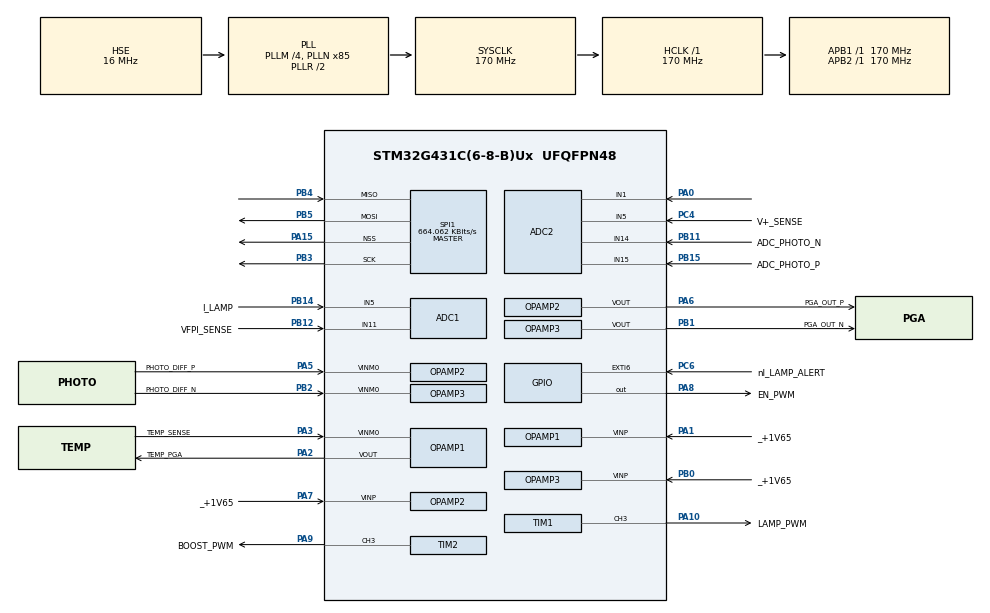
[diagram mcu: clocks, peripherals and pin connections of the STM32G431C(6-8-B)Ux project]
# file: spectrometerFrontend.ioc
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Dma.SPI1_TX.2.MemInc=DMA_MINC_ENABLE
SPI1.VirtualType=VM_MASTER
ADC2.SamplingTime-1\#ChannelRegularConversion=ADC_SAMPLETIME_640CYCLES_5
Dma.ADC2.1.SyncRequestNumber=1
PB14.GPIO_Label=I_LAMP
PC6.GPIO_Label=nI_LAMP_ALERT
PA6.GPIO_Label=PGA_OUT_P
TIM2.Dithering=Enable
RCC.SYSCLKSource=RCC_SYSCLKSOURCE_PLLCLK
NVIC.DMA1_Channel3_IRQn=true\:0\:0\:false\:false\:true\:false\:true
SPI1.Direction=SPI_DIRECTION_2LINES
RCC.APB2TimFreq_Value=170000000
Dma.ADC1.0.Direction=DMA_PERIPH_TO_MEMORY
SPI1.CalculateBaudRate=664.062 KBits/s
Dma.ADC1.0.MemDataAlignment=DMA_MDATAALIGN_HALFWORD
OPAMP2.PgaGain=OPAMP_PGA_GAIN_64_OR_MINUS_63
PB2.Signal=OPAMP3_VINM0
PB3.Mode=Full_Duplex_Master
RCC.ADC12Freq_Value=170000000
PB12.GPIO_Label=VFPI_SENSE
Dma.ADC2.1.RequestNumber=1
Dma.ADC2.1.Instance=DMA1_Channel2
PC4.GPIO_Label=V+_SENSE
PB14.Mode=IN5-Single-Ended
PB1.GPIO_Label=PGA_OUT_N
Dma.ADC1.0.PeriphInc=DMA_PINC_DISABLE
Dma.ADC2.1.Polarity=HAL_DMAMUX_REQ_GEN_RISING
SPI1.DataSize=SPI_DATASIZE_8BIT
PA0.Mode=IN1-Single-Ended
TIM2.Fractionnal_PeriodDither=15
PA8.Signal=GPIO_Output
SPI1.VirtualNSS=VM_NSSHARD
ADC1.SamplingTime-0\#ChannelRegularConversion=ADC_SAMPLETIME_640CYCLES_5
OPAMP1.UserTrimming=OPAMP_TRIMMING_USER
PA0.Signal=ADC2_IN1
Mcu.Package=UFQFPN48
TIM2.Prescaler=0
PB1.Signal=OPAMP3_VOUT
NVIC.TimeBase=TIM7_IRQn
OPAMP3.SelfCalibration=Enable
ADC1.OversamplingMode=ENABLE
ADC2.Channel-1\#ChannelRegularConversion=ADC_CHANNEL_1
NVIC.TimeBaseIP=TIM7
PA10.Signal=S_TIM1_CH3
RCC.APB1TimFreq_Value=170000000
ADC2.Rank-2\#ChannelRegularConversion=3
Dma.SPI1_TX.2.Priority=DMA_PRIORITY_LOW
ADC2.EnableAnalogWatchDog1=true
TIM1.PulseNoDither_3=10
Dma.ADC2.1.PeriphDataAlignment=DMA_PDATAALIGN_HALFWORD
PF1-OSC_OUT.Signal=RCC_OSC_OUT
Dma.ADC1.0.EventEnable=DISABLE
PC4.Mode=IN5-Single-Ended
RCC.HSI48_VALUE=48000000
Dma.SPI1_TX.2.PeriphInc=DMA_PINC_DISABLE
Dma.SPI1_TX.2.RequestNumber=1
PA5.Mode=PGA Connected-INVERTINGINPUT_IO0_BIAS
NVIC.TIM8_UP_IRQn=true\:0\:0\:false\:false\:true\:true\:true
Dma.ADC1.0.Instance=DMA1_Channel1
ADC1.Rank-0\#ChannelRegularConversion=1
Dma.ADC1.0.SyncRequestNumber=1
ADC1.OffsetNumber-0\#ChannelRegularConversion=ADC_OFFSET_NONE
ADC2.Rank-3\#ChannelRegularConversion=4
PA9.GPIO_Label=BOOST_PWM
PC6.Signal=GPXTI6
PB11.GPIO_Label=ADC_PHOTO_N
TIM8.TIM_MasterSlaveMode=TIM_MASTERSLAVEMODE_DISABLE
TIM2.OCPolarity_3=TIM_OCPOLARITY_LOW
ADC1.ExternalTrigConvEdge=ADC_EXTERNALTRIGCONVEDGE_FALLING
PA3.Mode=PGA Connected-INVERTINGINPUT_IO0_BIAS
Dma.ADC2.1.SyncSignalID=NONE
PA8.GPIO_Label=EN_PWM
PB11.Mode=IN14-Single-Ended
ADC2.ContinuousConvMode=ENABLE
Dma.ADC1.0.SignalID=NONE
Dma.ADC1.0.Priority=DMA_PRIORITY_LOW
PA9.Signal=S_TIM2_CH3
ADC2.WatchdogChannel=ADC_CHANNEL_5
TIM8.Channel-PWM\ Generation1\ No\ Output=TIM_CHANNEL_1
ADC2.OffsetNumber-1\#ChannelRegularConversion=ADC_OFFSET_NONE
PB14.Signal=ADC1_IN5
PA5.Signal=OPAMP2_VINM0
ADC2.OffsetNumber-0\#ChannelRegularConversion=ADC_OFFSET_NONE
ADC2.Channel-2\#ChannelRegularConversion=ADC_CHANNEL_14
TIM1.TIM_MasterOutputTrigger=TIM_TRGO_UPDATE
PA1.Mode=PGA Connected-INVERTINGINPUT_IO0_BIAS
SPI1.CRCCalculation=SPI_CRCCALCULATION_DISABLE
PB15.GPIO_Label=ADC_PHOTO_P
SPI1.Mode=SPI_MODE_MASTER
PA1.GPIO_Label=_+1V65
ADC1.DMAContinuousRequests=ENABLE
Dma.ADC2.1.MemInc=DMA_MINC_ENABLE
PA13.Mode=Serial_Wire
SPI1.NSSPMode=SPI_NSS_PULSE_ENABLE
ADC1.ExternalTrigConv=ADC_EXTERNALTRIG_T1_TRGO
ADC2.RightBitShift=ADC_RIGHTBITSHIFT_NONE
ADC1.SamplingTime-1\#ChannelRegularConversion=ADC_SAMPLETIME_6CYCLES_5
PB5.Signal=SPI1_MOSI
Dma.ADC2.1.Direction=DMA_PERIPH_TO_MEMORY
ADC1.master=1
PA5.GPIO_Label=PHOTO_DIFF_P
ADC2.NbrOfConversionFlag=1
TIM8.TIM_MasterOutputTrigger=TIM_TRGO_UPDATE
ADC1.Rank-1\#ChannelRegularConversion=2
OPAMP3.PgaGain=OPAMP_PGA_GAIN_64_OR_MINUS_63
Dma.ADC1.0.RequestNumber=1
ProjectManager.HeapSize=0x200
PB1.Mode=PGA Connected-INVERTINGINPUT_IO0_BIAS
ADC2.OversamplingMode=ENABLE
OPAMP1.SelfCalibration=Enable
TIM8.PeriodNoDither=50-1
NVIC.PriorityGroup=NVIC_PRIORITYGROUP_4
NVIC.DMA1_Channel1_IRQn=true\:0\:0\:false\:false\:true\:false\:true
PF0-OSC_IN.Signal=RCC_OSC_IN
TIM1.Channel-PWM\ Generation3\ CH3=TIM_CHANNEL_3
PB0.Signal=OPAMP3_VINP
TIM1.PeriodNoDither=3400-1
Mcu.Family=STM32G4
Dma.SPI1_TX.2.EventEnable=DISABLE
ADC1.RightBitShift=ADC_RIGHTBITSHIFT_NONE
PA6.Mode=PGA Connected-INVERTINGINPUT_IO0_BIAS
ADC2.OffsetNumber-2\#ChannelRegularConversion=ADC_OFFSET_NONE
RCC.CortexFreq_Value=170000000
ADC1.Overrun=ADC_OVR_DATA_PRESERVED
ADC1.ContinuousConvMode=ENABLE
ADC2.Channel-0\#ChannelRegularConversion=ADC_CHANNEL_5
Dma.ADC1.0.Polarity=HAL_DMAMUX_REQ_GEN_RISING
PB0.GPIO_Label=_+1V65
PB11.Signal=ADC2_IN14
PB15.Signal=ADC2_IN15
ProjectManager.StackSize=0x400
Dma.SPI1_TX.2.Polarity=HAL_DMAMUX_REQ_GEN_RISING
ADC2.Ratio=ADC_OVERSAMPLING_RATIO_16
TIM1.Prescaler=0
ADC2.DMAContinuousRequests=ENABLE
Dma.ADC2.1.SyncEnable=DISABLE
RCC.HCLKFreq_Value=170000000
Dma.SPI1_TX.2.SyncRequestNumber=1
Dma.SPI1_TX.2.Mode=DMA_NORMAL
RCC.AHBFreq_Value=170000000
ADC1.Channel-0\#ChannelRegularConversion=ADC_CHANNEL_5
RCC.HSE_VALUE=16000000
PA15.Mode=NSS_Signal_Hard_Output
Dma.ADC2.1.SyncPolarity=HAL_DMAMUX_SYNC_NO_EVENT
TIM2.PeriodNoDither=3400-1
PB4.Mode=Full_Duplex_Master
PA14.Mode=Serial_Wire
PB5.Mode=Full_Duplex_Master
PA10.GPIO_Label=LAMP_PWM
VP_SYS_VS_DBSignals.Mode=DisableDeadBatterySignals
Dma.ADC2.1.PeriphInc=DMA_PINC_DISABLE
OPAMP1.PgaGain=OPAMP_PGA_GAIN_8_OR_MINUS_7
Dma.SPI1_TX.2.MemDataAlignment=DMA_MDATAALIGN_BYTE
PA6.Signal=OPAMP2_VOUT
PB12.Mode=IN11-Single-Ended
PA2.GPIO_Label=TEMP_PGA
PA15.Signal=SPI1_NSS
ADC1.OffsetNumber-1\#ChannelRegularConversion=ADC_OFFSET_NONE
ADC2.SamplingTime-0\#ChannelRegularConversion=ADC_SAMPLETIME_640CYCLES_5
TIM8.Prescaler=170-1
ADC2.SamplingTime-2\#ChannelRegularConversion=ADC_SAMPLETIME_640CYCLES_5
ADC2.NbrOfConversion=4
Dma.Request2=SPI1_TX
Dma.Request1=ADC2
Dma.SPI1_TX.2.SyncEnable=DISABLE
ADC2.Rank-0\#ChannelRegularConversion=1
PF1-OSC_OUT.Mode=HSE-External-Oscillator
Dma.Request0=ADC1
SPI1.BaudRatePrescaler=SPI_BAUDRATEPRESCALER_256
NVIC.TIM7_IRQn=true\:0\:0\:false\:false\:true\:false\:true
ADC2.Channel-3\#ChannelRegularConversion=ADC_CHANNEL_15
PB4.Signal=SPI1_MISO
PA3.Signal=OPAMP1_VINM0
RCC.PLLSourceVirtual=RCC_PLLSOURCE_HSE
PA7.Mode=PGA Connected-INVERTINGINPUT_IO0_BIAS
Dma.SPI1_TX.2.Direction=DMA_MEMORY_TO_PERIPH
Dma.SPI1_TX.2.SignalID=NONE
VP_SYS_VS_tim7.Mode=TIM7
PC4.Signal=ADC2_IN5
RCC.EXTERNAL_CLOCK_VALUE=12288000
OPAMP1.PowerMode=OPAMP_POWERMODE_NORMAL
ADC2.AWD1FilteringConfig=ADC_AWD_FILTERING_8SAMPLES
PA13.Signal=SYS_JTMS-SWDIO
Dma.ADC1.0.PeriphDataAlignment=DMA_PDATAALIGN_HALFWORD
ADC2.OffsetNumber-3\#ChannelRegularConversion=ADC_OFFSET_NONE
Dma.SPI1_TX.2.Instance=DMA1_Channel3
PC6.GPIO_ModeDefaultEXTI=GPIO_MODE_IT_RISING_FALLING
NVIC.DMA1_Channel2_IRQn=true\:0\:0\:false\:false\:true\:false\:true
ProjectManager.TargetToolchain=STM32CubeIDE
Dma.ADC1.0.Mode=DMA_CIRCULAR
Dma.ADC1.0.SyncSignalID=NONE
ADC1.Channel-1\#ChannelRegularConversion=ADC_CHANNEL_11
ADC1.EnableAnalogWatchDog1=false
Dma.SPI1_TX.2.SyncPolarity=HAL_DMAMUX_SYNC_NO_EVENT
RCC.USBFreq_Value=170000000
ADC1.Ratio=ADC_OVERSAMPLING_RATIO_16
Dma.SPI1_TX.2.PeriphDataAlignment=DMA_PDATAALIGN_BYTE
Dma.ADC2.1.Mode=DMA_CIRCULAR
RCC.LSE_VALUE=32768
PA1.Signal=OPAMP1_VINP
PF0-OSC_IN.Mode=HSE-External-Oscillator
VP_TIM8_VS_no_output1.Mode=PWM Generation1 No Output
PB0.Mode=PGA Connected-INVERTINGINPUT_IO0_BIAS
board=custom
RCC.VCOOutputFreq_Value=340000000
PB15.Mode=IN15-Single-Ended
Dma.ADC1.0.SyncPolarity=HAL_DMAMUX_SYNC_NO_EVENT
RCC.APB2Freq_Value=170000000
TIM2.Integer_PeriodDither=850-1
SH.S_TIM2_CH3.0=TIM2_CH3,PWM Generation3 CH3
TIM2.Channel-PWM\ Generation3\ CH3=TIM_CHANNEL_3
ADC2.SamplingTime-3\#ChannelRegularConversion=ADC_SAMPLETIME_640CYCLES_5
ADC1.NbrOfConversion=2
Mcu.Name=STM32G431C(6-8-B)Ux
PA2.Signal=OPAMP1_VOUT
PB3.Signal=SPI1_SCK
RCC.SYSCLKFreq_VALUE=170000000
PA7.GPIO_Label=_+1V65
PB2.Mode=PGA Connected-INVERTINGINPUT_IO0_BIAS
Dma.ADC1.0.SyncEnable=DISABLE
NVIC.EXTI9_5_IRQn=true\:0\:0\:false\:false\:true\:true\:true
PA14.Signal=SYS_JTCK-SWCLK
Dma.ADC1.0.MemInc=DMA_MINC_ENABLE
PB2.GPIO_Label=PHOTO_DIFF_N
SH.S_TIM1_CH3.0=TIM1_CH3,PWM Generation3 CH3
Dma.ADC2.1.SignalID=NONE
RCC.HSI_VALUE=16000000
Dma.ADC2.1.EventEnable=DISABLE
ADC1.NbrOfConversionFlag=1
Dma.ADC2.1.MemDataAlignment=DMA_MDATAALIGN_HALFWORD
RCC.PLLM=RCC_PLLM_DIV4
RCC.PLLN=85
ADC2.Rank-1\#ChannelRegularConversion=2
PA2.Mode=PGA Connected-INVERTINGINPUT_IO0_BIAS
Dma.ADC2.1.Priority=DMA_PRIORITY_LOW
Dma.SPI1_TX.2.SyncSignalID=NONE
RCC.APB1Freq_Value=170000000
PB12.Signal=ADC1_IN11
TIM1.TIM_MasterSlaveMode=TIM_MASTERSLAVEMODE_DISABLE
PA3.GPIO_Label=TEMP_SENSE
PA7.Signal=OPAMP2_VINP

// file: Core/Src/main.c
/* USER CODE BEGIN Header */
/**
  ******************************************************************************
  * @file           : main.c
  * @brief          : Main program body
  ******************************************************************************
  * @attention
  *
  * <h2><center>&copy; Copyright (c) 2021 STMicroelectronics.
  * All rights reserved.</center></h2>
  *
  * This software component is licensed by ST under BSD 3-Clause license,
  * the "License"; You may not use this file except in compliance with the
  * License. You may obtain a copy of the License at:
  *                        opensource.org/licenses/BSD-3-Clause
  *
  ******************************************************************************
  */
/* USER CODE END Header */
#include "main.h"
#include "adc.h"
#include "dma.h"
#include "opamp.h"
#include "spi.h"
#include "tim.h"
#include "gpio.h"

/* USER CODE BEGIN Includes */
#include <stdio.h>
#include <string.h>
#include <stdlib.h>
#include <math.h>
#include "FPI-0H00084.h"
/* USER CODE END Includes */

/* USER CODE BEGIN PD */
#define ADC_BUF_LEN 4
#define SIN_STEPS 1024
#define EXECUTION_PERIOD_MS 1
#define LAMP_PWM_PERIOD 3350
#define LAMP_VOLTAGE_MV 10000
#define VPLUS_DIVIDER 6.0
#define VFPI_DIVIDER 12.5
#define FPI_PERIOD 849.0
#define FPI_DITHER 15.0
#define FPI_PULSE_DMAX 700.0

#define FPI_USER_LIMIT 38300
#define FPI_ERROR_THRESHOLD 250

#define TEMP_CONVERSION 2.8
#define KELVIN_TO_CELSIUS 273.15
#define CONSTANT_A 0.001093
#define CONSTANT_B 0.0002401
#define CONSTANT_C 0.00000006288

#define ADC_CONVERSION_CONSTANT 3300.0 / 65536.0

#define FPI_VOLTAGE_MEASUREMENT_CORRECTION 15650.0 / 15000.0

#define PLUS_VOLTAGE_MEASUREMENT_CORRECTION 12373.0 / 11683.0

#define FPI_VOLTAGE_GAIN 0.9598
#define FPI_VOLTAGE_OFFSET 640.0

#define VOLTAGE_ERROR_MEASURE 10.0 	//mv
#define VOLTAGE_ERROR_AVG_COUNT 10
#define MEASURE_RANGE_MIN 1550		//nm
#define MEASURE_RANGE_MAX 1850		//nm
#define MEASURE_STEP_SIZE 1		//nm
#define STEP_TIME 5				//ms

#define PHOTO_VALUE_SIZE (int)( (float)(MEASURE_RANGE_MAX - MEASURE_RANGE_MIN) / (float)MEASURE_STEP_SIZE )
/* USER CODE END PD */

/* USER CODE BEGIN PV */
uint16_t ADC1Buf[2];
uint16_t ADC2Buf[4];

uint32_t lastCycleTick = 0;

int nLAMP_CURRENT_ALERT = 0;
int lampCurrentRAW = 0;
float lampI = 0;
float sinLookup[SIN_STEPS];
float waveFormCounter = 0;
float lampPulse = 0;

int vfpiRAW = 0;
int vPlusRAW = 0;
float vPlus = 0;
float vFPI = 0;

float vFPISetpoint = 15000;
float vFPIError = 0;
const float vFPIProportionalGain = 0.005;
const float vFPIIntegralGain = 0.0002;
float vFPIIntegral = 0;
float vFPIPulse = 0;
int ditherPulse = 0;

int vTempRAW = 0;
float vTemp = 0;
float vThermistor = 0;
float thermistorR = 0;
float tempDegC = 0.0;

int vPhotoPRAW = 0;
int vPhotoNRAW = 0;
float vPhotoP = 0;
float vPhotoN = 0;
float vPhotoDiff = 0;

int wavelengthSetpoint = MEASURE_RANGE_MAX;
int lastTime = 0;
float averageError = 0.0;
uint8_t averageErrorWriteIndex = 0;
float errorAccumulation[VOLTAGE_ERROR_AVG_COUNT];

uint16_t photoValueIndex = 0;
float photoValue[PHOTO_VALUE_SIZE];

/* USER CODE END PV */

void SystemClock_Config(void);
/* USER CODE BEGIN PFP */
void loop(void);
void initializePeripherals(void);
void measureSlow(void);
void measureFast(void);
void boostConverter(void);

float tempCalc(void);
void lampPulsing(void);
void lampOn(void);

uint16_t wavelengthToVoltage(int wavelength, float temperature);

/* USER CODE END PFP */

int main(void)
{

  /* MCU Configuration--------------------------------------------------------*/

  /* Reset of all peripherals, Initializes the Flash interface and the Systick. */
  HAL_Init();

  /* Configure the system clock */
  SystemClock_Config();

  /* USER CODE BEGIN SysInit */
  lastCycleTick = HAL_GetTick();
  /* USER CODE END SysInit */

  /* Initialize all configured peripherals */
  MX_GPIO_Init();
  MX_DMA_Init();
  MX_TIM1_Init();
  MX_TIM8_Init();
  MX_ADC1_Init();
  MX_OPAMP1_Init();
  MX_ADC2_Init();
  MX_TIM2_Init();
  MX_OPAMP2_Init();
  MX_OPAMP3_Init();
  MX_SPI1_Init();
  /* USER CODE BEGIN 2 */
  initializePeripherals();

  /* USER CODE END 2 */

  /* Infinite loop */
  while (1)
  {

  }
}

void SystemClock_Config(void)
{
  RCC_OscInitTypeDef RCC_OscInitStruct = {0};
  RCC_ClkInitTypeDef RCC_ClkInitStruct = {0};
  RCC_PeriphCLKInitTypeDef PeriphClkInit = {0};

  /** Configure the main internal regulator output voltage
  */
  HAL_PWREx_ControlVoltageScaling(PWR_REGULATOR_VOLTAGE_SCALE1_BOOST);
  /** Initializes the RCC Oscillators according to the specified parameters
  * in the RCC_OscInitTypeDef structure.
  */
  RCC_OscInitStruct.OscillatorType = RCC_OSCILLATORTYPE_HSE;
  RCC_OscInitStruct.HSEState = RCC_HSE_ON;
  RCC_OscInitStruct.PLL.PLLState = RCC_PLL_ON;
  RCC_OscInitStruct.PLL.PLLSource = RCC_PLLSOURCE_HSE;
  RCC_OscInitStruct.PLL.PLLM = RCC_PLLM_DIV4;
  RCC_OscInitStruct.PLL.PLLN = 85;
  RCC_OscInitStruct.PLL.PLLP = RCC_PLLP_DIV2;
  RCC_OscInitStruct.PLL.PLLQ = RCC_PLLQ_DIV2;
  RCC_OscInitStruct.PLL.PLLR = RCC_PLLR_DIV2;
  if (HAL_RCC_OscConfig(&RCC_OscInitStruct) != HAL_OK)
  {
    Error_Handler();
  }
  /** Initializes the CPU, AHB and APB buses clocks
  */
  RCC_ClkInitStruct.ClockType = RCC_CLOCKTYPE_HCLK|RCC_CLOCKTYPE_SYSCLK
                              |RCC_CLOCKTYPE_PCLK1|RCC_CLOCKTYPE_PCLK2;
  RCC_ClkInitStruct.SYSCLKSource = RCC_SYSCLKSOURCE_PLLCLK;
  RCC_ClkInitStruct.AHBCLKDivider = RCC_SYSCLK_DIV1;
  RCC_ClkInitStruct.APB1CLKDivider = RCC_HCLK_DIV1;
  RCC_ClkInitStruct.APB2CLKDivider = RCC_HCLK_DIV1;

  if (HAL_RCC_ClockConfig(&RCC_ClkInitStruct, FLASH_LATENCY_4) != HAL_OK)
  {
    Error_Handler();
  }
  /** Initializes the peripherals clocks
  */
  PeriphClkInit.PeriphClockSelection = RCC_PERIPHCLK_ADC12;
  PeriphClkInit.Adc12ClockSelection = RCC_ADC12CLKSOURCE_SYSCLK;
  if (HAL_RCCEx_PeriphCLKConfig(&PeriphClkInit) != HAL_OK)
  {
    Error_Handler();
  }
}

/* USER CODE BEGIN 4 */

/* LOOP function called every 50us by TIM8 */
void loop(void){
	/* called every 50us */
	measureFast();
	boostConverter();

	uint32_t tick = HAL_GetTick();

	/* called every 1 ms */
	if(tick >= lastCycleTick + EXECUTION_PERIOD_MS)
	{
		lastCycleTick = tick;
		measureSlow();
		lampOn();
		//lampPulsing();

		/* called when the voltage has settled and at least 10ms have passed*/
		if (abs(averageError) < VOLTAGE_ERROR_MEASURE && tick >= lastTime + STEP_TIME)
		{
			uint8_t data[512];
			memset(data, 0, 512);
			sprintf((char *)data, "DATA:$%d$%.2f$%.2f$%.2f$%.5f\n", wavelengthSetpoint, tempDegC, vFPISetpoint, vFPI, vPhotoDiff);
			/* transmit the measurement value */
			HAL_SPI_Transmit_DMA(&hspi1, data, strlen((char *)data));

			lastTime = tick;
			if(wavelengthSetpoint > MEASURE_RANGE_MIN){
				wavelengthSetpoint = wavelengthSetpoint - MEASURE_STEP_SIZE;
			} else {
				wavelengthSetpoint = MEASURE_RANGE_MAX;
				// memset(data, 0, 512);
				// sprintf((char *)data, "NEW MEASUREMENT SERIES:\n");
				// /* transmit the measurement value */
				// HAL_SPI_Transmit_DMA(&hspi1, data, strlen((char *)data));
			}

			tempDegC = tempCalc();
			vFPISetpoint = wavelengthToVoltage(wavelengthSetpoint, tempDegC);

		}
	}
}

void initializePeripherals(void)
{

	/* Calculate SIN Lookup */
	for( int i = 0; i < SIN_STEPS; i ++)
	{
		sinLookup[i] = sin( ( (float) i / (float) SIN_STEPS ) * 2 * M_PI );
	}

	/* read initial values of exti pins */
	nLAMP_CURRENT_ALERT = HAL_GPIO_ReadPin(nI_LAMP_ALERT_GPIO_Port, nI_LAMP_ALERT_Pin);

	/* ADCs */
	HAL_ADC_Start_DMA(&hadc1, (uint32_t*)ADC1Buf, 2);
	HAL_ADC_Start_DMA(&hadc2, (uint32_t*)ADC2Buf, 4);

	/* OPAMP1 for Temp amplification */
	/* The OPAMP uses inverting input for temp sensor measurement and +1.65V reference on non inverting input  */
	/* This way a thermistor resistance value of 20k will produce a output of 0mV. */
	/* PGA Values bewtween 2 and 16 should be automatically used for range detection */

	/* TODO: expand the usage to more then 16x amplification with correction */

	HAL_OPAMP_Start(&hopamp1);

	/* OPAMP2 and OPAMP3 for Photodiode amplification */
	/* With PGA gain of 8 the OPAMPS saturates when the light is directly in front of the MEMS */

	/* TODO: expand the software to dynamically adapt the PGA gain */

	HAL_OPAMP_Start(&hopamp2);
	HAL_OPAMP_Start(&hopamp3);

	/* Timers */
	//Lamp
	HAL_TIM_PWM_Start(&htim1, TIM_CHANNEL_3);

	//Boost Converter
	//LM5106 EN
	HAL_GPIO_WritePin(EN_PWM_GPIO_Port, EN_PWM_Pin, GPIO_PIN_SET);
	//LM5106 IN
	HAL_TIM_PWM_Start(&htim2, TIM_CHANNEL_3);

	/* Start timer for loop triggering */
	HAL_TIM_Base_Start_IT(&htim8);

}

void measureSlow(void)
{
	lampCurrentRAW = ADC1Buf[0];
	vPhotoNRAW = ADC2Buf[2];
	vPhotoPRAW = ADC2Buf[3];
	lampI = 	( (float)lampCurrentRAW 	* ADC_CONVERSION_CONSTANT ) / 200.0 / 0.1;
	vPhotoN = 	( (float)vPhotoNRAW 		* ADC_CONVERSION_CONSTANT );
	vPhotoP = 	( (float)vPhotoPRAW 		* ADC_CONVERSION_CONSTANT );
	vPhotoDiff = vPhotoP - vPhotoN;

	for (uint8_t i = 0; i < VOLTAGE_ERROR_AVG_COUNT; i++)
	{
		averageError += errorAccumulation[i];
	}
	averageError = averageError / (float)VOLTAGE_ERROR_AVG_COUNT;

}

void measureFast(void)
{

	vfpiRAW = ADC1Buf[1];
	vPlusRAW = ADC2Buf[0];
	vPlus = 	( (float)vPlusRAW			* ADC_CONVERSION_CONSTANT ) * VPLUS_DIVIDER * PLUS_VOLTAGE_MEASUREMENT_CORRECTION;
	vFPI = 		( (float)vfpiRAW			* ADC_CONVERSION_CONSTANT ) * VFPI_DIVIDER * FPI_VOLTAGE_MEASUREMENT_CORRECTION;
	vFPI = vFPI * FPI_VOLTAGE_GAIN + FPI_VOLTAGE_OFFSET;

}

float tempCalc(void)
{
	vTempRAW = ADC2Buf[1];
	vTemp = 	( (float)vTempRAW 			* ADC_CONVERSION_CONSTANT );

	vThermistor = 4271.8 - 1.638 * vTemp;
	thermistorR = 0.94 * 20000.0 * (1.0 / ((3300.0/vThermistor) - 1.0));
	float oneByT = CONSTANT_A + CONSTANT_B * log(thermistorR) + CONSTANT_C * pow(log(thermistorR), 3);
	tempDegC = 1/oneByT - KELVIN_TO_CELSIUS;
	//tempDegC = 25.0;
	return tempDegC;
}

void boostConverter(void)
{
	if( vFPI > VFPI_MAX + FPI_ERROR_THRESHOLD)
	{
		vFPISetpoint = FPI_USER_LIMIT + FPI_ERROR_THRESHOLD;
	}
	if( vFPISetpoint > FPI_USER_LIMIT )
		vFPISetpoint = FPI_USER_LIMIT;
	if(vFPISetpoint < vPlus)
		vFPISetpoint = vPlus + FPI_ERROR_THRESHOLD * 2;

	vFPIError = vFPISetpoint - vFPI;
	vFPIIntegral += vFPIError;
	vFPIPulse = vFPIError * vFPIProportionalGain + vFPIIntegral * vFPIIntegralGain;

	errorAccumulation[averageErrorWriteIndex] = vFPIError;
	averageErrorWriteIndex ++;
	if(averageErrorWriteIndex >= VOLTAGE_ERROR_AVG_COUNT)
		averageErrorWriteIndex = 0;

	if(vFPIPulse > FPI_PULSE_DMAX)
		vFPIPulse = FPI_PULSE_DMAX;

	if(vFPIPulse < 0)
		vFPIPulse = 0;

	HAL_GPIO_WritePin(EN_PWM_GPIO_Port, EN_PWM_Pin, GPIO_PIN_SET);
	ditherPulse = ((int)vFPIPulse << 4) + (int)(FPI_DITHER * (float)(vFPIPulse - (int)vFPIPulse));
	htim2.Instance->CCR3 = (int)ditherPulse;

	//htim1.Instance->CCR1 = 0;
	//htim2.Instance->CCR3 = 0;

}

void lampPulsing(void)
{
	if( lampI > 30)
	{
		htim1.Instance->CCR3 = 0;
		return;

	}

	lampPulse = (sinLookup[(int)waveFormCounter] * 0.25 + 0.5) * (float)LAMP_PWM_PERIOD * LAMP_VOLTAGE_MV / vPlus;

	htim1.Instance->CCR3 = (int)lampPulse;

	waveFormCounter += 0.0625;
	if( waveFormCounter >= SIN_STEPS)
		waveFormCounter = 0;
	if( waveFormCounter < 0)
			waveFormCounter = 0;
}

void lampOn(void)
{
	if( lampI > 30)
	{
		htim1.Instance->CCR3 = 0;
		return;

	}

	lampPulse = (float)LAMP_PWM_PERIOD * ((float)LAMP_VOLTAGE_MV / vPlus);

	htim1.Instance->CCR3 = (unsigned int)lampPulse;
}

void HAL_GPIO_EXTI_Callback(uint16_t GPIO_Pin)
{
	switch ( GPIO_Pin )
	{
		case nI_LAMP_ALERT_Pin:
			nLAMP_CURRENT_ALERT = HAL_GPIO_ReadPin(nI_LAMP_ALERT_GPIO_Port, nI_LAMP_ALERT_Pin);
			break;
	}

}

uint16_t wavelengthToVoltage(int wavelength, float temperature)
{
	uint16_t voltage = 0;
	// check if wavelength value is in wavelength range
	if (wavelength > WAVELENGTH_MAX)
		return 0;
	if (wavelength < WAVELENGTH_MIN)
		return 0;

	// check if temperature is in operable range
	if (temperature > tempLookup[TEMP_LOOKUP_LEN - 1])
		return 0;
	if (temperature < tempLookup[0])
		return 0;

	uint16_t 	wavelengthIndex = wavelength - WAVELENGTH_MIN;
	uint16_t 	voltageArrayAtTemp[TEMP_LOOKUP_LEN];
	uint8_t 	tempIndexLower = 0;
	uint8_t 	tempIndexUpper = 1;

	for( int i = 0; i < TEMP_LOOKUP_LEN; i ++)
	{
		// copy the values from the lookup table
		voltageArrayAtTemp[i] = fpiLookup[wavelengthIndex][i];

		// get the temperature range
		if( temperature >= tempLookup[i])
			tempIndexLower = i;

		if( temperature < tempLookup[i])
			tempIndexUpper = i;
	}

	uint16_t voltageLower = voltageArrayAtTemp[tempIndexLower];
	uint16_t voltageUpper = voltageArrayAtTemp[tempIndexUpper];
	float tempLower = (float)tempLookup[tempIndexLower];
	float tempUpper = (float)tempLookup[tempIndexUpper];

	float 		tempRange = tempUpper - tempLower;
	uint16_t 	voltageRange = voltageUpper - voltageLower;
	float 		tempOffsetFactor = (tempDegC - tempLower) / tempRange;

	voltage = voltageLower + (int)(tempOffsetFactor * (float)voltageRange);
	if(voltage > VFPI_MAX)
		voltage = VFPI_MAX;
	if(voltage < VFPI_MIN)
		voltage = VFPI_MIN;

	if(voltage > FPI_USER_LIMIT)
		voltage = FPI_USER_LIMIT;

	return voltage;
}

/* USER CODE END 4 */

void HAL_TIM_PeriodElapsedCallback(TIM_HandleTypeDef *htim)
{
  if (htim->Instance == TIM7) {
    HAL_IncTick();
  }
  /* USER CODE BEGIN Callback 1 */
  if (htim->Instance == TIM8) {
	  loop();
  }
  /* USER CODE END Callback 1 */
}

void Error_Handler(void)
{
  /* USER CODE BEGIN Error_Handler_Debug */
  /* User can add his own implementation to report the HAL error return state */
	htim1.Instance->CCR1 = 0;
  /* USER CODE END Error_Handler_Debug */
}

/************************ (C) COPYRIGHT STMicroelectronics *****END OF FILE****/
